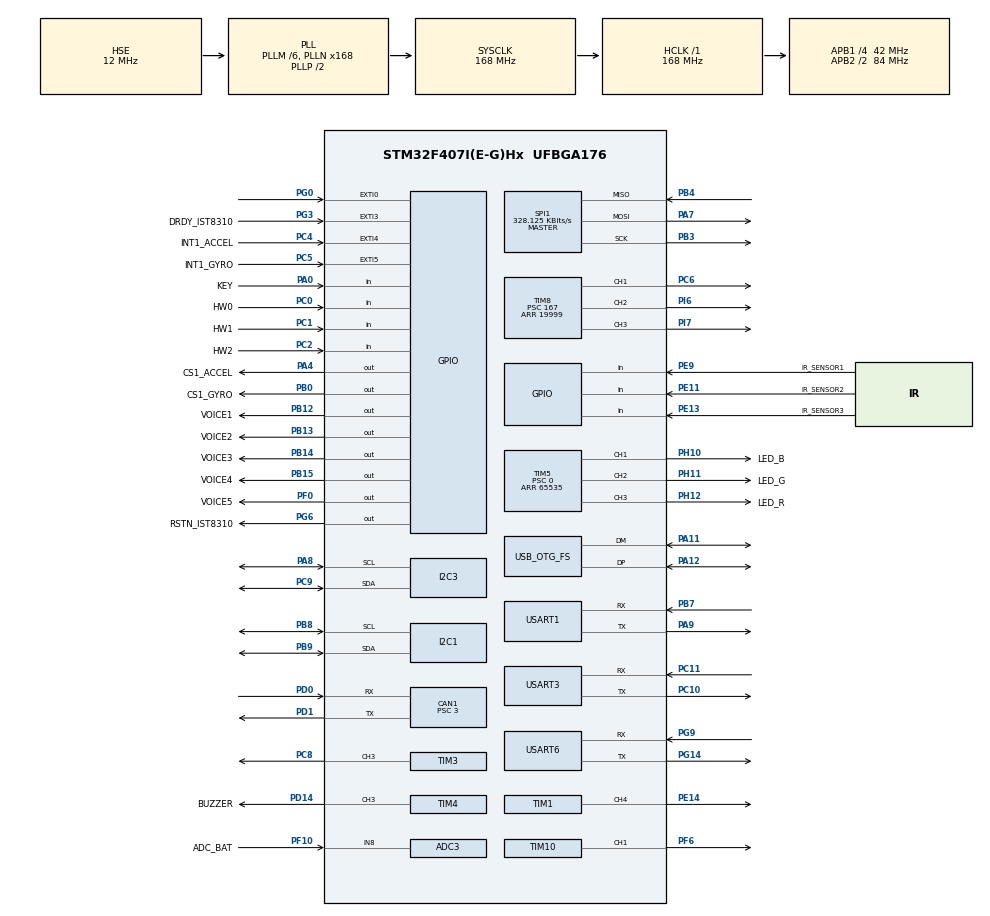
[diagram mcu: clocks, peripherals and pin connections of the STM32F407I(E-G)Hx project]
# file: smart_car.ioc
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ADC1.Channel-0\#ChannelRegularConversion=ADC_CHANNEL_TEMPSENSOR
ADC1.ClockPrescaler=ADC_CLOCK_SYNC_PCLK_DIV6
ADC1.NbrOfConversionFlag=1
ADC1.Rank-0\#ChannelRegularConversion=1
ADC1.SamplingTime-0\#ChannelRegularConversion=ADC_SAMPLETIME_3CYCLES
ADC1.master=1
ADC3.Channel-0\#ChannelRegularConversion=ADC_CHANNEL_8
ADC3.ClockPrescaler=ADC_CLOCK_SYNC_PCLK_DIV6
ADC3.NbrOfConversionFlag=1
ADC3.Rank-0\#ChannelRegularConversion=1
ADC3.SamplingTime-0\#ChannelRegularConversion=ADC_SAMPLETIME_3CYCLES
CAN1.BS1=CAN_BS1_10TQ
CAN1.BS2=CAN_BS2_3TQ
CAN1.CalculateBaudRate=1000000
CAN1.CalculateTimeQuantum=71.42857142857143
CAN1.Prescaler=3
Dma.Request0=SPI1_RX
Dma.Request1=SPI1_TX
Dma.Request2=USART1_RX
Dma.SPI1_RX.0.Direction=DMA_PERIPH_TO_MEMORY
Dma.SPI1_RX.0.FIFOMode=DMA_FIFOMODE_DISABLE
Dma.SPI1_RX.0.Instance=DMA2_Stream2
Dma.SPI1_RX.0.MemDataAlignment=DMA_MDATAALIGN_BYTE
Dma.SPI1_RX.0.MemInc=DMA_MINC_ENABLE
Dma.SPI1_RX.0.Mode=DMA_NORMAL
Dma.SPI1_RX.0.PeriphDataAlignment=DMA_PDATAALIGN_BYTE
Dma.SPI1_RX.0.PeriphInc=DMA_PINC_DISABLE
Dma.SPI1_RX.0.Priority=DMA_PRIORITY_VERY_HIGH
Dma.SPI1_TX.1.Direction=DMA_MEMORY_TO_PERIPH
Dma.SPI1_TX.1.FIFOMode=DMA_FIFOMODE_DISABLE
Dma.SPI1_TX.1.Instance=DMA2_Stream3
Dma.SPI1_TX.1.MemDataAlignment=DMA_MDATAALIGN_BYTE
Dma.SPI1_TX.1.MemInc=DMA_MINC_ENABLE
Dma.SPI1_TX.1.Mode=DMA_NORMAL
Dma.SPI1_TX.1.PeriphDataAlignment=DMA_PDATAALIGN_BYTE
Dma.SPI1_TX.1.PeriphInc=DMA_PINC_DISABLE
Dma.SPI1_TX.1.Priority=DMA_PRIORITY_HIGH
Dma.USART1_RX.2.Direction=DMA_PERIPH_TO_MEMORY
Dma.USART1_RX.2.FIFOMode=DMA_FIFOMODE_DISABLE
Dma.USART1_RX.2.Instance=DMA2_Stream5
Dma.USART1_RX.2.MemDataAlignment=DMA_MDATAALIGN_BYTE
Dma.USART1_RX.2.MemInc=DMA_MINC_ENABLE
Dma.USART1_RX.2.Mode=DMA_CIRCULAR
Dma.USART1_RX.2.PeriphDataAlignment=DMA_PDATAALIGN_BYTE
Dma.USART1_RX.2.PeriphInc=DMA_PINC_DISABLE
Dma.USART1_RX.2.Priority=DMA_PRIORITY_MEDIUM
FREERTOS.INCLUDE_eTaskGetState=1
FREERTOS.INCLUDE_pcTaskGetTaskName=1
FREERTOS.INCLUDE_uxTaskGetStackHighWaterMark=1
FREERTOS.INCLUDE_vTaskCleanUpResources=1
FREERTOS.INCLUDE_vTaskDelayUntil=1
FREERTOS.INCLUDE_xEventGroupSetBitFromISR=1
FREERTOS.INCLUDE_xQueueGetMutexHolder=1
FREERTOS.INCLUDE_xSemaphoreGetMutexHolder=1
FREERTOS.INCLUDE_xTaskAbortDelay=1
FREERTOS.INCLUDE_xTaskGetCurrentTaskHandle=1
FREERTOS.INCLUDE_xTaskGetHandle=1
FREERTOS.INCLUDE_xTimerPendFunctionCall=1
FREERTOS.Tasks01=test,24,128,test_task,As weak,NULL,Dynamic,NULL,NULL
FREERTOS.configTOTAL_HEAP_SIZE=24576
I2C1.I2C_Mode=I2C_Fast
I2C3.I2C_Mode=I2C_Fast
Mcu.Family=STM32F4
Mcu.Name=STM32F407I(E-G)Hx
Mcu.Package=UFBGA176
NVIC.CAN1_RX0_IRQn=true\:6\:0\:true\:false\:true\:true\:true\:true\:true
NVIC.DMA2_Stream2_IRQn=true\:5\:0\:true\:false\:false\:true\:false\:true\:true
NVIC.DMA2_Stream3_IRQn=true\:5\:0\:true\:false\:false\:true\:false\:true\:true
NVIC.DMA2_Stream5_IRQn=true\:5\:0\:false\:false\:true\:true\:false\:true\:true
NVIC.EXTI0_IRQn=true\:6\:0\:true\:false\:true\:true\:true\:true\:true
NVIC.EXTI3_IRQn=true\:5\:0\:true\:false\:true\:true\:true\:true\:true
NVIC.EXTI4_IRQn=true\:5\:0\:true\:false\:true\:true\:true\:true\:true
NVIC.EXTI9_5_IRQn=true\:5\:0\:true\:false\:true\:true\:true\:true\:true
NVIC.OTG_FS_IRQn=true\:5\:0\:false\:false\:true\:true\:false\:true\:true
NVIC.PriorityGroup=NVIC_PRIORITYGROUP_4
NVIC.TIM7_IRQn=true\:0\:0\:false\:false\:true\:false\:false\:true\:true
NVIC.TimeBase=TIM7_IRQn
NVIC.TimeBaseIP=TIM7
NVIC.USART1_IRQn=true\:5\:0\:false\:false\:true\:true\:false\:true\:true
NVIC.USART3_IRQn=true\:5\:0\:false\:false\:true\:true\:true\:true\:true
NVIC.USART6_IRQn=true\:5\:0\:false\:false\:true\:true\:true\:true\:true
PA0-WKUP.GPIO_Label=KEY
PA0-WKUP.GPIO_PuPd=GPIO_PULLUP
PA0-WKUP.Signal=GPIO_Input
PA11.Mode=Device_Only
PA11.Signal=USB_OTG_FS_DM
PA12.Mode=Device_Only
PA12.Signal=USB_OTG_FS_DP
PA13.Mode=Serial_Wire
PA13.Signal=SYS_JTMS-SWDIO
PA14.Mode=Serial_Wire
PA14.Signal=SYS_JTCK-SWCLK
PA4.GPIO_Label=CS1_ACCEL
PA4.GPIO_PuPd=GPIO_PULLUP
PA4.GPIO_Speed=GPIO_SPEED_FREQ_HIGH
PA4.PinState=GPIO_PIN_SET
PA4.Signal=GPIO_Output
PA7.GPIO_PuPd=GPIO_PULLUP
PA7.Mode=Full_Duplex_Master
PA7.Signal=SPI1_MOSI
PA8.GPIO_Pu=GPIO_PULLUP
PA8.Mode=I2C
PA8.Signal=I2C3_SCL
PA9.Mode=Asynchronous
PA9.Signal=USART1_TX
PB0.GPIO_Label=CS1_GYRO
PB0.GPIO_PuPd=GPIO_PULLUP
PB0.GPIO_Speed=GPIO_SPEED_FREQ_HIGH
PB0.PinState=GPIO_PIN_SET
PB0.Signal=GPIO_Output
PB12.GPIO_Label=VOICE1
PB12.GPIO_PuPd=GPIO_PULLUP
PB12.PinState=GPIO_PIN_SET
PB12.Signal=GPIO_Output
PB13.GPIO_Label=VOICE2
PB13.GPIO_PuPd=GPIO_PULLUP
PB13.PinState=GPIO_PIN_SET
PB13.Signal=GPIO_Output
PB14.GPIO_Label=VOICE3
PB14.GPIO_PuPd=GPIO_PULLUP
PB14.PinState=GPIO_PIN_SET
PB14.Signal=GPIO_Output
PB15.GPIO_Label=VOICE4
PB15.GPIO_PuPd=GPIO_PULLUP
PB15.PinState=GPIO_PIN_SET
PB15.Signal=GPIO_Output
PB3.GPIO_PuPd=GPIO_PULLUP
PB3.Mode=Full_Duplex_Master
PB3.Signal=SPI1_SCK
PB4.GPIO_PuPd=GPIO_PULLUP
PB4.Mode=Full_Duplex_Master
PB4.Signal=SPI1_MISO
PB7.Mode=Asynchronous
PB7.Signal=USART1_RX
PB8.GPIO_Pu=GPIO_PULLUP
PB8.Mode=I2C
PB8.Signal=I2C1_SCL
PB9.GPIO_Pu=GPIO_PULLUP
PB9.Mode=I2C
PB9.Signal=I2C1_SDA
PC0.GPIO_Label=HW0
PC0.Signal=GPIO_Input
PC1.GPIO_Label=HW1
PC1.Signal=GPIO_Input
PC10.Mode=Asynchronous
PC10.Signal=USART3_TX
PC11.Mode=Asynchronous
PC11.Signal=USART3_RX
PC2.GPIO_Label=HW2
PC2.Signal=GPIO_Input
PC4.GPIO_Label=INT1_ACCEL
PC4.GPIO_ModeDefaultEXTI=GPIO_MODE_IT_FALLING
PC4.GPIO_PuPd=GPIO_PULLUP
PC4.Signal=GPXTI4
PC5.GPIO_Label=INT1_GYRO
PC5.GPIO_ModeDefaultEXTI=GPIO_MODE_IT_FALLING
PC5.GPIO_PuPd=GPIO_PULLUP
PC5.Signal=GPXTI5
PC6.GPIO_PuPd=GPIO_PULLUP
PC6.GPIO_Speed=GPIO_SPEED_FREQ_HIGH
PC6.Signal=S_TIM8_CH1
PC8.GPIO_PuPd=GPIO_PULLUP
PC8.GPIO_Speed=GPIO_SPEED_FREQ_HIGH
PC8.Signal=S_TIM3_CH3
PC9.GPIO_Pu=GPIO_PULLUP
PC9.Mode=I2C
PC9.Signal=I2C3_SDA
PD0.Mode=CAN_Activate
PD0.Signal=CAN1_RX
PD1.Mode=CAN_Activate
PD1.Signal=CAN1_TX
PD14.GPIO_Label=BUZZER
PD14.GPIO_PuPd=GPIO_PULLUP
PD14.GPIO_Speed=GPIO_SPEED_FREQ_VERY_HIGH
PD14.Signal=S_TIM4_CH3
PE11.GPIO_Label=IR_SENSOR2
PE11.GPIO_PuPd=GPIO_PULLUP
PE11.Signal=GPIO_Input
PE13.GPIO_Label=IR_SENSOR3
PE13.GPIO_PuPd=GPIO_PULLUP
PE13.Signal=GPIO_Input
PE14.Signal=S_TIM1_CH4
PE9.GPIO_Label=IR_SENSOR1
PE9.GPIO_PuPd=GPIO_PULLUP
PE9.Signal=GPIO_Input
PF0.GPIO_Label=VOICE5
PF0.GPIO_PuPd=GPIO_PULLUP
PF0.Signal=GPIO_Output
PF10.GPIO_Label=ADC_BAT
PF10.Mode=IN8
PF10.Signal=ADC3_IN8
PF6.GPIO_PuPd=GPIO_PULLUP
PF6.GPIO_Speed=GPIO_SPEED_FREQ_HIGH
PF6.Signal=S_TIM10_CH1
PG0.GPIO_ModeDefaultEXTI=GPIO_MODE_IT_FALLING
PG0.GPIO_PuPd=GPIO_PULLUP
PG0.Signal=GPXTI0
PG14.Mode=Asynchronous
PG14.Signal=USART6_TX
PG3.GPIO_Label=DRDY_IST8310
PG3.GPIO_ModeDefaultEXTI=GPIO_MODE_IT_FALLING
PG3.GPIO_PuPd=GPIO_PULLUP
PG3.Signal=GPXTI3
PG6.GPIO_Label=RSTN_IST8310
PG6.GPIO_PuPd=GPIO_PULLUP
PG6.GPIO_Speed=GPIO_SPEED_FREQ_MEDIUM
PG6.PinState=GPIO_PIN_SET
PG6.Signal=GPIO_Output
PG9.Mode=Asynchronous
PG9.Signal=USART6_RX
PH0-OSC_IN.Mode=HSE-External-Oscillator
PH0-OSC_IN.Signal=RCC_OSC_IN
PH1-OSC_OUT.Mode=HSE-External-Oscillator
PH1-OSC_OUT.Signal=RCC_OSC_OUT
PH10.GPIO_Label=LED_B
PH10.GPIO_PuPd=GPIO_PULLUP
PH10.GPIO_Speed=GPIO_SPEED_FREQ_HIGH
PH10.Signal=S_TIM5_CH1
PH11.GPIO_Label=LED_G
PH11.GPIO_PuPd=GPIO_PULLUP
PH11.GPIO_Speed=GPIO_SPEED_FREQ_HIGH
PH11.Signal=S_TIM5_CH2
PH12.GPIO_Label=LED_R
PH12.GPIO_PuPd=GPIO_PULLUP
PH12.GPIO_Speed=GPIO_SPEED_FREQ_HIGH
PH12.Signal=S_TIM5_CH3
PI6.GPIO_PuPd=GPIO_PULLUP
PI6.GPIO_Speed=GPIO_SPEED_FREQ_HIGH
PI6.Signal=S_TIM8_CH2
PI7.Signal=S_TIM8_CH3
ProjectManager.HeapSize=0x2000
ProjectManager.StackSize=0x2000
ProjectManager.TargetToolchain=CMake
RCC.48MHZClocksFreq_Value=48000000
RCC.AHBFreq_Value=168000000
RCC.APB1CLKDivider=RCC_HCLK_DIV4
RCC.APB1Freq_Value=42000000
RCC.APB1TimFreq_Value=84000000
RCC.APB2CLKDivider=RCC_HCLK_DIV2
RCC.APB2Freq_Value=84000000
RCC.APB2TimFreq_Value=168000000
RCC.CortexFreq_Value=168000000
RCC.HCLKFreq_Value=168000000
RCC.HSE_VALUE=12000000
RCC.HSI_VALUE=16000000
RCC.LSE_VALUE=32768
RCC.PLLM=6
RCC.PLLN=168
RCC.PLLQ=7
RCC.RCC_RTC_Clock_SourceVirtual=RCC_RTCCLKSOURCE_HSE_DIV30
RCC.RCC_RTC_Clock_Source_FROM_HSE=RCC_RTCCLKSOURCE_HSE_DIV30
RCC.SYSCLKFreq_VALUE=168000000
RCC.SYSCLKSource=RCC_SYSCLKSOURCE_PLLCLK
RCC.VCOOutputFreq_Value=336000000
RTC.AsynchPrediv=124
RTC.SynchPrediv=3199
SH.S_TIM10_CH1.0=TIM10_CH1,PWM Generation1 CH1
SH.S_TIM1_CH4.0=TIM1_CH4,PWM Generation4 CH4
SH.S_TIM3_CH3.0=TIM3_CH3,PWM Generation3 CH3
SH.S_TIM4_CH3.0=TIM4_CH3,PWM Generation3 CH3
SH.S_TIM5_CH1.0=TIM5_CH1,PWM Generation1 CH1
SH.S_TIM5_CH2.0=TIM5_CH2,PWM Generation2 CH2
SH.S_TIM5_CH3.0=TIM5_CH3,PWM Generation3 CH3
SH.S_TIM8_CH1.0=TIM8_CH1,PWM Generation1 CH1
SH.S_TIM8_CH2.0=TIM8_CH2,PWM Generation2 CH2
SH.S_TIM8_CH3.0=TIM8_CH3,PWM Generation3 CH3
SPI1.BaudRatePrescaler=SPI_BAUDRATEPRESCALER_256
SPI1.CLKPhase=SPI_PHASE_2EDGE
SPI1.CLKPolarity=SPI_POLARITY_HIGH
SPI1.CalculateBaudRate=328.125 KBits/s
SPI1.Direction=SPI_DIRECTION_2LINES
SPI1.Mode=SPI_MODE_MASTER
SPI1.VirtualType=VM_MASTER
TIM1.Channel-PWM\ Generation4\ CH4=TIM_CHANNEL_4
TIM1.Period=19999
TIM1.Prescaler=167
TIM10.Channel=TIM_CHANNEL_1
TIM10.Period=4999
TIM3.Channel-PWM\ Generation3\ CH3=TIM_CHANNEL_3
TIM3.Period=8399
TIM4.Channel-PWM\ Generation3\ CH3=TIM_CHANNEL_3
TIM4.Period=65535
TIM4.Prescaler=0
TIM5.Channel-PWM\ Generation1\ CH1=TIM_CHANNEL_1
TIM5.Channel-PWM\ Generation2\ CH2=TIM_CHANNEL_2
TIM5.Channel-PWM\ Generation3\ CH3=TIM_CHANNEL_3
TIM5.Period=65535
TIM5.Prescaler=0
TIM8.Channel-PWM\ Generation1\ CH1=TIM_CHANNEL_1
TIM8.Channel-PWM\ Generation2\ CH2=TIM_CHANNEL_2
TIM8.Channel-PWM\ Generation3\ CH3=TIM_CHANNEL_3
TIM8.Period=19999
TIM8.Prescaler=167
TIM8.Pulse-PWM\ Generation1\ CH1=1000
TIM8.Pulse-PWM\ Generation2\ CH2=1000
USART1.VirtualMode=VM_ASYNC
USART3.VirtualMode=VM_ASYNC
USART6.VirtualMode=VM_ASYNC
USB_DEVICE.CLASS_NAME_FS=CDC
USB_DEVICE.VirtualMode-CDC_FS=Cdc
USB_DEVICE.VirtualModeFS=Cdc_FS
USB_OTG_FS.VirtualMode=Device_Only
VP_ADC1_TempSens_Input.Mode=IN-TempSens
VP_ADC1_Vref_Input.Mode=IN-Vrefint
VP_FREERTOS_VS_CMSIS_V1.Mode=CMSIS_V1
VP_RNG_VS_RNG.Mode=RNG_Activate
VP_RTC_VS_RTC_Activate.Mode=RTC_Enabled
VP_SYS_VS_tim7.Mode=TIM7
VP_TIM10_VS_ClockSourceINT.Mode=Enable_Timer
VP_TIM1_VS_ClockSourceINT.Mode=Internal
VP_TIM3_VS_ClockSourceINT.Mode=Internal
VP_TIM4_VS_ClockSourceINT.Mode=Internal
VP_TIM5_VS_ClockSourceINT.Mode=Internal
VP_TIM8_VS_ClockSourceINT.Mode=Internal
VP_USB_DEVICE_VS_USB_DEVICE_CDC_FS.Mode=CDC_FS
board=custom

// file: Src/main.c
/* USER CODE BEGIN Header */
/**
 ******************************************************************************
 * @file           : main.c
 * @brief          : Main program body
 ******************************************************************************
 * @attention
 *
 * Copyright (c) 2026 STMicroelectronics.
 * All rights reserved.
 *
 * This software is licensed under terms that can be found in the LICENSE file
 * in the root directory of this software component.
 * If no LICENSE file comes with this software, it is provided AS-IS.
 *
 ******************************************************************************
 */
/* USER CODE END Header */
#include "main.h"
#include "cmsis_os.h"
#include "adc.h"
#include "can.h"
#include "dma.h"
#include "i2c.h"
#include "rng.h"
#include "rtc.h"
#include "spi.h"
#include "tim.h"
#include "usart.h"
#include "usb_device.h"
#include "gpio.h"

/* USER CODE BEGIN Includes */
#include "actions.h"
#include "bsp_buzzer.h"
#include "bsp_can.h"
#include "bsp_delay.h"
#include "bsp_usart.h"

#include "CAN_receive.h"
#include "gray_sensor.h"

#include "INS_task.h"
#include "calibrate_task.h"
#include "chassis_behaviour.h"
#include "chassis_task.h"
#include "detect_task.h"
#include "led_flow_task.h"
#include "line_track_task.h"
#include "navigate_task.h"
#include "paths.h"
#include "servo_ctrl.h"
#include "usb_cdc_task.h"
#include "vision_module.h"
#include "voltage_task.h"
/* USER CODE END Includes */

/* USER CODE BEGIN PD */

/*
 * ══════════════════════════════════════════════════════════════
 * 辅助：上下平台通用步骤
 * ══════════════════════════════════════════════════════════════
 *
 * 上平台 — 无线直行 → 红外触发 → 微调距离 → 舵机
 * 下平台 — 180° 掉头 → 前进寻线
 */

static void platform_enter(void) {
  move(300, 0.15f, 5000);  // 上坡 40cm, 不管灰度
  wait_ir(5000);           // 慢速至红外触发
  move(200, 0.10f, 5000);  // 前走 5cm
  move(-200, 0.10f, 5000); // 后退 3cm
  servo(SERVO_CH_PLATFORM, SERVO_PLATFORM_ACTIVE_US);
  osDelay(800);
  servo(SERVO_CH_PLATFORM, SERVO_PLATFORM_HOME_US);
}

static void platform_exit(void) {
  find_line(3000); // 前进寻线
}

/*
 * ══════════════════════════════════════════════════════════════
 * 示例1: 完整竞赛流程 (平台1 → 扫码 → 分支 → 数字识别)
 * ══════════════════════════════════════════════════════════════
 *
 * 触发: debug console 输入 msn comp
 *
 * 依赖路径 (见 paths.c):
 *   "1_2"       — 平台1→口→平台  p2
 *   "p2_men4"   — 平台2→口→3或4号门口
 *   "men4_men3"  — 4号门口→口→3号门口
 *   "men3_men2"  — 3号门口→口→2号门口
 */

static const char *platform_sum_route(int sum) {
  switch (sum) {
  case 1:
    return "men3_men1";
  case 2:
    return "men3_men2";
  case 3:
    return "men2_men3";
  default:
    return "men2_men1"; /* fallback */
  }
}

void mission_comp(void) {
  /* ── 上平台2, 扫码 ── */
  platform_exit();
  run("p1_p2");
  platform_enter();

  turn(170);
  platform_exit();
  run("p2_z1");
  turn(180);

  // /* ── 扫码: qr[0..2] 三字节全用 ──
  //  * qr_scan 阻塞等结果, 成功返回 1, 填充 3 个 ASCII 字节。
  //  * 路由判断直接取 qr[0]/qr[1]/qr[2]。 */
  // uint8_t qr[3] = {0};
  // if (qr_scan(qr)) {
  //   /* 示例: 三个字节都参与路由判断 */
  //   if (qr[0] == '1' && qr[1] == '2' && qr[2] == '3') {
  //     run("p2_men4");
  //   } else if (qr[0] == '1') {
  //     run("p2_men4");
  //     run("men4_men3");
  //   } else {
  //     run("p2_men4");
  //     run("men4_men4b");
  //   }
  // }
  //
  // /* ── 上平台3, 数字识别 ── */
  // platform_enter();
  // int d1 = digit_read();
  // voice(d1 + 10);
  // platform_exit();
  // run("men3_men2");
  //
  // /* ── 上平台4, 数字识别 ── */
  // platform_enter();
  // int d2 = digit_read();
  // voice(d2 + 10);
  // platform_exit();
  //
  // /* ── 按和路由 ── */
  // run(platform_sum_route(d1 + d2));
  // cross(STOP);
}

/*
 * ══════════════════════════════════════════════════════════════
 * 示例2: 路口循环 3 圈
 * ══════════════════════════════════════════════════════════════
 *
 * 触发: debug console 输入 msn loop
 */

void mission_loop(void) {
  speed(0.8f);
  for (int i = 0; i < 3; i++) {
    cross(FORWARD);
    cross(LEFT_90);
  }
  cross(STOP);
}

/*
 * ══════════════════════════════════════════════════════════════
 * 示例3: 简单路线（用 cross 替代旧路径表）
 * ══════════════════════════════════════════════════════════════
 *
 * 触发: debug console 输入 msn simple
 */

void mission_simple(void) {
  cross(FORWARD);
  cross(LEFT_90);
  cross(FORWARD);
  cross(RIGHT_90);
  cross(FORWARD);
  cross(STOP);
}

/*
 * ══════════════════════════════════════════════════════════════
 * go12 示例函数已移除 — 移植版见 application/run_task.c
 * (run_task 独占灰度+底盘, 由 freertos.c 创建)
 * ══════════════════════════════════════════════════════════════
 */

/*
 * ╔══════════════════════════════════════════════════════════════╗
 * ║  ★★  上电启动路线 — 改这个函数决定开机后行为  ★★          ║
 * ╚══════════════════════════════════════════════════════════════╝
 *
 * 上电 1s 后自动调用此函数. 用 actions API 随便写.
 *
 * 可用 API:
 *   有线: cross(FORWARD)  cross(LEFT_90)  cross(RIGHT_90) ...
 *   无线: move(mm, spd, ms)  turn(deg)  find_line(ms)  wait_ir(ms)
 *   瞬时: speed(v)  voice(track)  servo(ch, us)
 *   视觉: qr_scan()  digit_read()
 *   路线: run("basic")  run("1_2") ...
 *   平台: platform_enter()  platform_exit()
 */

void startup(void) {
  osDelay(1000); /* 等传感器稳定 */
  g_mission_active = 1;
  //
  // /* ══════════════ 改下面这行 ══════════════ */
  // /* 等红外触发 (遮挡→离开→消抖1s), 不触发不启动 */
  if (wait_ir_trigger(60000, 1000) == 0) {
    mission_comp(); /* ← 当前: 竞赛完整流程  */
  }
  // /* ═════════════════════════════════════════ */

  g_mission_active = 0;
  vTaskDelete(NULL); /* 执行完删除自己 */
}

/* ---- 兼容旧版: debug console path 命令用的出厂路径表 ---- */
static const navigate_step_t demo_path[] = {{STOP}};

/* USER CODE END PD */

void SystemClock_Config(void);
void MX_FREERTOS_Init(void);

int main(void)
{

  /* MCU Configuration--------------------------------------------------------*/

  /* Reset of all peripherals, Initializes the Flash interface and the Systick. */
  HAL_Init();

  /* Configure the system clock */
  SystemClock_Config();

  /* Initialize all configured peripherals */
  MX_GPIO_Init();
  MX_DMA_Init();
  MX_ADC1_Init();
  MX_ADC3_Init();
  MX_CAN1_Init();
  MX_I2C1_Init();
  MX_SPI1_Init();
  MX_TIM4_Init();
  MX_TIM5_Init();
  MX_TIM8_Init();
  MX_RNG_Init();
  MX_I2C3_Init();
  MX_RTC_Init();
  MX_TIM1_Init();
  MX_TIM3_Init();
  MX_TIM10_Init();
  MX_USART1_UART_Init();
  MX_USART6_UART_Init();
  MX_USART3_UART_Init();
  /* USER CODE BEGIN 2 */

  /* BSP init */
  buzzer_init();
  can_filter_init();

  /* Gray sensor — default ID 0x01 */
  gray_sensor_init(0x01);

  /* Load navigation path. */
  navigate_load_path(demo_path, sizeof(demo_path) / sizeof(demo_path[0]));

  /* ★ 上电启动任务 — startup() 在这里创建, 调度器启动后自动执行。
   * 已禁用: run_task (application/run_task.c) 独占灰度+底盘, 由 freertos.c 创建。 */
#if 0
  xTaskCreate((TaskFunction_t)startup, "startup", 1024, NULL, osPriorityNormal,
              NULL);
#endif

  MX_USB_DEVICE_Init();
  HAL_Delay(500);

  /* Init calibration subsystem (load flash data, set up hooks). */
  cali_param_init();

  /* USER CODE END 2 */

  /* Call init function for freertos objects (in cmsis_os2.c) */
  MX_FREERTOS_Init();

  /* Start scheduler */
  osKernelStart();

  /* We should never get here as control is now taken by the scheduler */

  /* Infinite loop */
  while (1) {

  }
}

void SystemClock_Config(void)
{
  RCC_OscInitTypeDef RCC_OscInitStruct = {0};
  RCC_ClkInitTypeDef RCC_ClkInitStruct = {0};

  /** Configure the main internal regulator output voltage
  */
  __HAL_RCC_PWR_CLK_ENABLE();
  __HAL_PWR_VOLTAGESCALING_CONFIG(PWR_REGULATOR_VOLTAGE_SCALE1);

  /** Initializes the RCC Oscillators according to the specified parameters
  * in the RCC_OscInitTypeDef structure.
  */
  RCC_OscInitStruct.OscillatorType = RCC_OSCILLATORTYPE_HSE;
  RCC_OscInitStruct.HSEState = RCC_HSE_ON;
  RCC_OscInitStruct.PLL.PLLState = RCC_PLL_ON;
  RCC_OscInitStruct.PLL.PLLSource = RCC_PLLSOURCE_HSE;
  RCC_OscInitStruct.PLL.PLLM = 6;
  RCC_OscInitStruct.PLL.PLLN = 168;
  RCC_OscInitStruct.PLL.PLLP = RCC_PLLP_DIV2;
  RCC_OscInitStruct.PLL.PLLQ = 7;
  if (HAL_RCC_OscConfig(&RCC_OscInitStruct) != HAL_OK)
  {
    Error_Handler();
  }

  /** Initializes the CPU, AHB and APB buses clocks
  */
  RCC_ClkInitStruct.ClockType = RCC_CLOCKTYPE_HCLK|RCC_CLOCKTYPE_SYSCLK
                              |RCC_CLOCKTYPE_PCLK1|RCC_CLOCKTYPE_PCLK2;
  RCC_ClkInitStruct.SYSCLKSource = RCC_SYSCLKSOURCE_PLLCLK;
  RCC_ClkInitStruct.AHBCLKDivider = RCC_SYSCLK_DIV1;
  RCC_ClkInitStruct.APB1CLKDivider = RCC_HCLK_DIV4;
  RCC_ClkInitStruct.APB2CLKDivider = RCC_HCLK_DIV2;

  if (HAL_RCC_ClockConfig(&RCC_ClkInitStruct, FLASH_LATENCY_5) != HAL_OK)
  {
    Error_Handler();
  }
}

/* USER CODE BEGIN 4 */

/* Override __weak test_task — USB already init in main(), re-init resets the
 * peripheral. */
void test_task(void const *argument) {
  (void)argument;
  vTaskDelete(NULL);
}

/* USER CODE END 4 */

void HAL_TIM_PeriodElapsedCallback(TIM_HandleTypeDef *htim)
{
  if (htim->Instance == TIM7)
  {
    HAL_IncTick();
  }
}

void Error_Handler(void)
{
  __disable_irq();
  while (1) {
  }
}

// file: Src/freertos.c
/* USER CODE BEGIN Header */
/**
  ******************************************************************************
  * File Name          : freertos.c
  * Description        : Code for freertos applications
  ******************************************************************************
  * @attention
  *
  * Copyright (c) 2026 STMicroelectronics.
  * All rights reserved.
  *
  * This software is licensed under terms that can be found in the LICENSE file
  * in the root directory of this software component.
  * If no LICENSE file comes with this software, it is provided AS-IS.
  *
  ******************************************************************************
  */
/* USER CODE END Header */

#include "FreeRTOS.h"
#include "task.h"
#include "main.h"
#include "cmsis_os.h"

/* USER CODE BEGIN Includes */
#include "actions.h"
#include "calibrate_task.h"
#include "chassis_task.h"
#include "detect_task.h"
#include "INS_task.h"
#include "led_flow_task.h"
#include "voltage_task.h"
#include "line_track_task.h"
#include "navigate_task.h"
#include "usb_cdc_task.h"
#include "debug_console.h"
#include "run_task.h"
/* USER CODE END Includes */

/* USER CODE BEGIN Variables */
osThreadId calibrate_task_handle;
osThreadId chassis_task_handle;
osThreadId detect_task_handle;
osThreadId ins_task_handle;
osThreadId led_flow_task_handle;
osThreadId voltage_task_handle;
osThreadId line_track_task_handle;
osThreadId navigate_task_handle;
osThreadId run_task_handle;
osThreadId usb_cdc_task_handle;
osThreadId debug_console_task_handle;
/* USER CODE END Variables */
osThreadId testHandle;

void test_task(void const * argument);

extern void MX_USB_DEVICE_Init(void);
void MX_FREERTOS_Init(void); /* (MISRA C 2004 rule 8.1) */

/* GetIdleTaskMemory prototype (linked to static allocation support) */
void vApplicationGetIdleTaskMemory( StaticTask_t **ppxIdleTaskTCBBuffer, StackType_t **ppxIdleTaskStackBuffer, uint32_t *pulIdleTaskStackSize );

/* GetTimerTaskMemory prototype (linked to static allocation support) */
void vApplicationGetTimerTaskMemory( StaticTask_t **ppxTimerTaskTCBBuffer, StackType_t **ppxTimerTaskStackBuffer, uint32_t *pulTimerTaskStackSize );

/* USER CODE BEGIN GET_IDLE_TASK_MEMORY */
static StaticTask_t xIdleTaskTCBBuffer;
static StackType_t xIdleStack[configMINIMAL_STACK_SIZE];

void vApplicationGetIdleTaskMemory( StaticTask_t **ppxIdleTaskTCBBuffer, StackType_t **ppxIdleTaskStackBuffer, uint32_t *pulIdleTaskStackSize )
{
  *ppxIdleTaskTCBBuffer = &xIdleTaskTCBBuffer;
  *ppxIdleTaskStackBuffer = &xIdleStack[0];
  *pulIdleTaskStackSize = configMINIMAL_STACK_SIZE;
  /* place for user code */
}
/* USER CODE END GET_IDLE_TASK_MEMORY */

/* USER CODE BEGIN GET_TIMER_TASK_MEMORY */
static StaticTask_t xTimerTaskTCBBuffer;
static StackType_t xTimerStack[configTIMER_TASK_STACK_DEPTH];

void vApplicationGetTimerTaskMemory( StaticTask_t **ppxTimerTaskTCBBuffer, StackType_t **ppxTimerTaskStackBuffer, uint32_t *pulTimerTaskStackSize )
{
  *ppxTimerTaskTCBBuffer = &xTimerTaskTCBBuffer;
  *ppxTimerTaskStackBuffer = &xTimerStack[0];
  *pulTimerTaskStackSize = configTIMER_TASK_STACK_DEPTH;
  /* place for user code */
}
/* USER CODE END GET_TIMER_TASK_MEMORY */

void MX_FREERTOS_Init(void) {

  /* USER CODE BEGIN RTOS_SEMAPHORES */
  navigate_init_semaphore();
  actions_init();
  /* USER CODE END RTOS_SEMAPHORES */

  /* Create the thread(s) */
  /* definition and creation of test */
  osThreadDef(test, test_task, osPriorityNormal, 0, 128);
  testHandle = osThreadCreate(osThread(test), NULL);

  /* USER CODE BEGIN RTOS_THREADS */
  /* USB CDC: printf/scanf via ring buffers + semaphores */
  osThreadDef(usb_cdc, usb_cdc_task, osPriorityNormal, 0, 256);
  usb_cdc_task_handle = osThreadCreate(osThread(usb_cdc), NULL);

  /* calibrate: IMU calibration, runs once then deletes itself */
  osThreadDef(calibrate, calibrate_task, osPriorityNormal, 0, 512);
  calibrate_task_handle = osThreadCreate(osThread(calibrate), NULL);

  /* INS: AHRS attitude estimation, 1ms period */
  osThreadDef(ins, INS_task, osPriorityRealtime, 0, 1024);
  ins_task_handle = osThreadCreate(osThread(ins), NULL);

  /* chassis: mecanum motion control, 2ms period */
  osThreadDef(chassis, chassis_task, osPriorityAboveNormal, 0, 512);
  chassis_task_handle = osThreadCreate(osThread(chassis), NULL);

  /* detect: device watchdog/heartbeat */
  osThreadDef(detect, detect_task, osPriorityNormal, 0, 256);
  detect_task_handle = osThreadCreate(osThread(detect), NULL);

  /* LED flow: RGB status indicator */
  osThreadDef(led_flow, led_RGB_flow_task, osPriorityNormal, 0, 256);
  led_flow_task_handle = osThreadCreate(osThread(led_flow), NULL);

  /* voltage: battery ADC */
  osThreadDef(voltage, battery_voltage_task, osPriorityNormal, 0, 128);
  voltage_task_handle = osThreadCreate(osThread(voltage), NULL);

  /* run_task: 技能赛2025 主控任务 (独占灰度+底盘)。
   * line_track/navigate 已禁用 — 灰度单主查询, 与 run_task 冲突。 */
  osThreadDef(run, run_task, osPriorityNormal, 0, 1024);
  run_task_handle = osThreadCreate(osThread(run), NULL);

  /* line_track: line-follow FSM + PID, 5ms period.
   * Priority = Normal (not High) to avoid starving chassis_task (AboveNormal, 2ms).
   * The sensor poll loop yields via osDelay(1), so computation bursts are short. */
#if 0
  osThreadDef(line_track, line_track_task, osPriorityNormal, 0, 512);
  line_track_task_handle = osThreadCreate(osThread(line_track), NULL);

  /* navigate: path step planner, 20ms polling */
  osThreadDef(navigate, navigate_task, osPriorityNormal, 0, 256);
  navigate_task_handle = osThreadCreate(osThread(navigate), NULL);
#endif

  /* debug_console: command interface for testing */
  osThreadDef(debug_console, debug_console_task, osPriorityNormal, 0, 512);
  debug_console_task_handle = osThreadCreate(osThread(debug_console), NULL);

  /* USER CODE END RTOS_THREADS */

}

__weak void test_task(void const * argument)
{
  /* init code for USB_DEVICE */
  MX_USB_DEVICE_Init();
  for(;;)
  {
    osDelay(1);
  }
}
